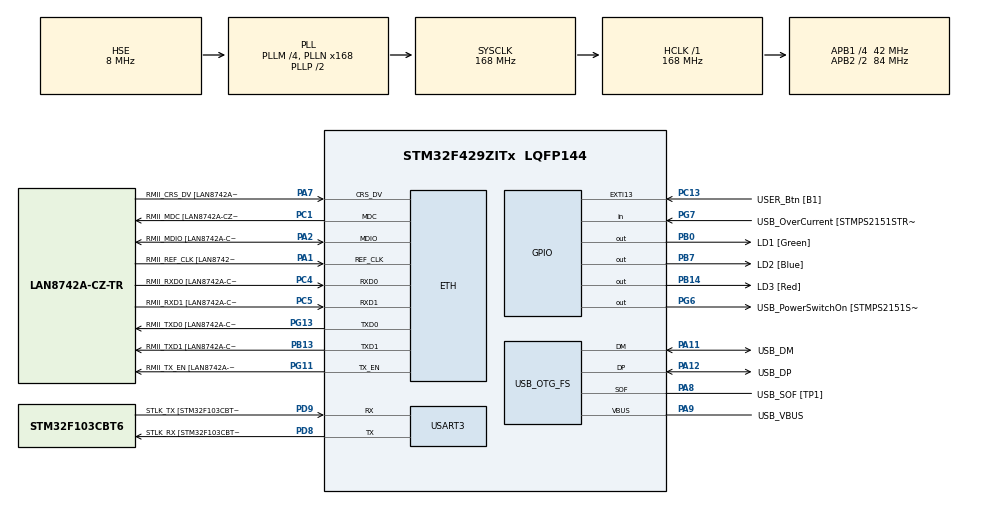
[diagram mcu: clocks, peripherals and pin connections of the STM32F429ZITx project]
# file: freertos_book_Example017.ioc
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ETH.MediaInterface=HAL_ETH_RMII_MODE
ETH.PHY_Name=LAN8742A_PHY_ADDRESS
ETH.PHY_Value=0
ETH.PhyAddress=0
FREERTOS.MEMORY_ALLOCATION=0
FREERTOS.Tasks01=defaultTask,0,128,StartDefaultTask,Default,NULL,Dynamic,NULL,NULL
FREERTOS.configUSE_COUNTING_SEMAPHORES=1
FREERTOS.configUSE_NEWLIB_REENTRANT=1
Mcu.Family=STM32F4
Mcu.Name=STM32F429ZITx
Mcu.Package=LQFP144
NVIC.EXTI15_10_IRQn=true\:5\:0\:false\:false\:true\:true\:true\:true\:true
NVIC.PriorityGroup=NVIC_PRIORITYGROUP_4
NVIC.TIM7_IRQn=true\:15\:0\:false\:false\:true\:false\:false\:true\:true
NVIC.TimeBase=TIM7_IRQn
NVIC.TimeBaseIP=TIM7
PA1.GPIO_Label=RMII_REF_CLK [LAN8742A-CZ-TR_REFCLK0]
PA1.Mode=RMII
PA1.Signal=ETH_REF_CLK
PA10.GPIO_Label=USB_ID
PA10.Signal=USB_OTG_FS_ID
PA11.GPIO_Label=USB_DM
PA11.Mode=Device_Only
PA11.Signal=USB_OTG_FS_DM
PA12.GPIO_Label=USB_DP
PA12.Mode=Device_Only
PA12.Signal=USB_OTG_FS_DP
PA13.GPIO_Label=TMS
PA13.Mode=Serial_Wire
PA13.Signal=SYS_JTMS-SWDIO
PA14.GPIO_Label=TCK
PA14.Mode=Serial_Wire
PA14.Signal=SYS_JTCK-SWCLK
PA2.GPIO_Label=RMII_MDIO [LAN8742A-CZ-TR_MDIO]
PA2.Mode=RMII
PA2.Signal=ETH_MDIO
PA7.GPIO_Label=RMII_CRS_DV [LAN8742A-CZ-TR_CRS_DV]
PA7.Mode=RMII
PA7.Signal=ETH_CRS_DV
PA8.GPIO_Label=USB_SOF [TP1]
PA8.Mode=Activate_SOF_FS
PA8.Signal=USB_OTG_FS_SOF
PA9.GPIO_Label=USB_VBUS
PA9.Mode=Activate_VBUS
PA9.Signal=USB_OTG_FS_VBUS
PB0.GPIO_Label=LD1 [Green]
PB0.Signal=GPIO_Output
PB13.GPIO_Label=RMII_TXD1 [LAN8742A-CZ-TR_TXD1]
PB13.Mode=RMII
PB13.Signal=ETH_TXD1
PB14.GPIO_Label=LD3 [Red]
PB14.Signal=GPIO_Output
PB7.GPIO_Label=LD2 [Blue]
PB7.Signal=GPIO_Output
PC1.GPIO_Label=RMII_MDC [LAN8742A-CZ-TR_MDC]
PC1.Mode=RMII
PC1.Signal=ETH_MDC
PC13.GPIO_Label=USER_Btn [B1]
PC13.GPIO_ModeDefaultEXTI=GPIO_MODE_IT_FALLING
PC13.Signal=GPXTI13
PC14/OSC32_IN.Mode=LSE-External-Oscillator
PC14/OSC32_IN.Signal=RCC_OSC32_IN
PC15/OSC32_OUT.Mode=LSE-External-Oscillator
PC15/OSC32_OUT.Signal=RCC_OSC32_OUT
PC4.GPIO_Label=RMII_RXD0 [LAN8742A-CZ-TR_RXD0]
PC4.Mode=RMII
PC4.Signal=ETH_RXD0
PC5.GPIO_Label=RMII_RXD1 [LAN8742A-CZ-TR_RXD1]
PC5.Mode=RMII
PC5.Signal=ETH_RXD1
PD8.GPIO_Label=STLK_RX [STM32F103CBT6_PA3]
PD8.Mode=Asynchronous
PD8.Signal=USART3_TX
PD9.GPIO_Label=STLK_TX [STM32F103CBT6_PA2]
PD9.Mode=Asynchronous
PD9.Signal=USART3_RX
PG11.GPIO_Label=RMII_TX_EN [LAN8742A-CZ-TR_TXEN]
PG11.Mode=RMII
PG11.Signal=ETH_TX_EN
PG13.GPIO_Label=RMII_TXD0 [LAN8742A-CZ-TR_TXD0]
PG13.Mode=RMII
PG13.Signal=ETH_TXD0
PG6.GPIO_Label=USB_PowerSwitchOn [STMPS2151STR_EN]
PG6.Signal=GPIO_Output
PG7.GPIO_Label=USB_OverCurrent [STMPS2151STR_FAULT]
PG7.Signal=GPIO_Input
PH0/OSC_IN.GPIO_Label=MCO [STM32F103CBT6_PA8]
PH0/OSC_IN.Mode=HSE-External-Clock-Source
PH0/OSC_IN.Signal=RCC_OSC_IN
PH1/OSC_OUT.Mode=HSE-External-Clock-Source
PH1/OSC_OUT.Signal=RCC_OSC_OUT
ProjectManager.HeapSize=0x200
ProjectManager.StackSize=0x400
ProjectManager.TargetToolchain=STM32CubeIDE
RCC.48MHZClocksFreq_Value=48000000
RCC.AHBFreq_Value=168000000
RCC.APB1CLKDivider=RCC_HCLK_DIV4
RCC.APB1Freq_Value=42000000
RCC.APB1TimFreq_Value=84000000
RCC.APB2CLKDivider=RCC_HCLK_DIV2
RCC.APB2Freq_Value=84000000
RCC.APB2TimCLKDivider=2
RCC.APB2TimFreq_Value=168000000
RCC.CortexFreq_Value=168000000
RCC.HCLKFreq_Value=168000000
RCC.HSE_VALUE=8000000
RCC.HSI_VALUE=16000000
RCC.PLLM=4
RCC.PLLMUL=RCC_PLL_MUL9
RCC.PLLN=168
RCC.PLLQ=7
RCC.PRESCALERUSB=RCC_USBCLKSOURCE_PLL_DIV1_5
RCC.SYSCLKFreq_VALUE=168000000
RCC.SYSCLKSource=RCC_SYSCLKSOURCE_PLLCLK
RCC.SYSCLKSourceVirtual=RCC_SYSCLKSOURCE_PLLCLK
RCC.USBFreq_Value=48000000
RCC.VCOOutputFreq_Value=336000000
USART3.VirtualMode=VM_ASYNC
USB_OTG_FS.VirtualMode=Device_Only
VP_FREERTOS_VS_CMSIS_V1.Mode=CMSIS_V1
VP_SYS_VS_tim7.Mode=TIM7
board=NUCLEO-F429ZI

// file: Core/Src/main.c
/* USER CODE BEGIN Header */
/**
  ******************************************************************************
  * @file           : main.c
  * @brief          : Main program body
  ******************************************************************************
  * @attention
  *
  * Copyright (c) 2022 STMicroelectronics.
  * All rights reserved.
  *
  * This software is licensed under terms that can be found in the LICENSE file
  * in the root directory of this software component.
  * If no LICENSE file comes with this software, it is provided AS-IS.
  *
  ******************************************************************************
  */
/* USER CODE END Header */
#include "main.h"
#include "string.h"
#include "cmsis_os.h"

/* USER CODE BEGIN Includes */
/* Standard includes. */
#include <stdio.h>
#include <stdlib.h>

/* Demo includes. */
#include "supportingFunctions.h"

/* USER CODE END Includes */

ETH_TxPacketConfig TxConfig;
ETH_DMADescTypeDef  DMARxDscrTab[ETH_RX_DESC_CNT]; /* Ethernet Rx DMA Descriptors */
ETH_DMADescTypeDef  DMATxDscrTab[ETH_TX_DESC_CNT]; /* Ethernet Tx DMA Descriptors */

ETH_HandleTypeDef heth;

UART_HandleTypeDef huart3;

PCD_HandleTypeDef hpcd_USB_OTG_FS;

osThreadId defaultTaskHandle;
/* USER CODE BEGIN PV */
/* Declare a variable of type SemaphoreHandle_t.  This is used to reference the
semaphore that is used to synchronize a task with an interrupt. */
SemaphoreHandle_t CountingSemaphoreHandle;

/* USER CODE END PV */

void SystemClock_Config(void);
static void MX_GPIO_Init(void);
static void MX_ETH_Init(void);
static void MX_USART3_UART_Init(void);
static void MX_USB_OTG_FS_PCD_Init(void);
void StartDefaultTask(void const * argument);

/* USER CODE BEGIN PFP */
void vHandlerTask(void *pvParameters);

/* USER CODE END PFP */

/* USER CODE BEGIN 0 */
/**
  * @brief EXTI line detection callbacks
  * @param GPIO_Pin: Specifies the pins connected EXTI line
  * @retval None
  */
void HAL_GPIO_EXTI_Callback(uint16_t GPIO_Pin)
{
	if( GPIO_Pin == USER_Btn_Pin )
	{
		BaseType_t xHigherPriorityTaskWoken;

		/* The xHigherPriorityTaskWoken parameter must be initialized to pdFALSE as
		   it will get set to pdTRUE inside the interrupt safe API function if a
		   context switch is required. */
		xHigherPriorityTaskWoken = pdFALSE;

		/* 'Give' the semaphore multiple times.  The first will unblock the deferred
		   interrupt handling task, the following 'gives' are to demonstrate that the
		   semaphore latches the events to allow the handler task to process them in
		   turn without events getting lost.  This simulates multiple interrupts being
		   processed by the processor, even though in this case the events are
		   simulated within a single interrupt occurrence.*/
		xSemaphoreGiveFromISR( CountingSemaphoreHandle, &xHigherPriorityTaskWoken );
		xSemaphoreGiveFromISR( CountingSemaphoreHandle, &xHigherPriorityTaskWoken );
		xSemaphoreGiveFromISR( CountingSemaphoreHandle, &xHigherPriorityTaskWoken );

		/* Pass the xHigherPriorityTaskWoken value into portYIELD_FROM_ISR().  If
		   xHigherPriorityTaskWoken was set to pdTRUE inside xSemaphoreGiveFromISR()
		   then calling portYIELD_FROM_ISR() will request a context switch.  If
		   xHigherPriorityTaskWoken is still pdFALSE then calling
		   portYIELD_FROM_ISR() will have no effect.  The implementation of
		   portYIELD_FROM_ISR() used by the Windows port includes a return statement,
		   which is why this function does not explicitly return a value. */
		portYIELD_FROM_ISR( xHigherPriorityTaskWoken );
	}
}

/* USER CODE END 0 */

int main(void)
{
  /* USER CODE BEGIN 1 */
	const char *pcTextForMain = "freertos_book_Example017 is running: Using a counting semaphore to synchronize a task with an interrupt\r\n\n";

  /* USER CODE END 1 */

  /* MCU Configuration--------------------------------------------------------*/

  /* Reset of all peripherals, Initializes the Flash interface and the Systick. */
  HAL_Init();

  /* Configure the system clock */
  SystemClock_Config();

  /* Initialize all configured peripherals */
  MX_GPIO_Init();
  MX_ETH_Init();
  MX_USART3_UART_Init();
  MX_USB_OTG_FS_PCD_Init();
  /* USER CODE BEGIN 2 */
	/* Print out the name of this Example. */
	vPrintString( pcTextForMain );

  /* USER CODE END 2 */

  /* USER CODE BEGIN RTOS_SEMAPHORES */
  /* add semaphores, ... */
    /* Before a semaphore is used it must be explicitly created.  In this
	example a counting semaphore is created.  The semaphore is created to have a
	maximum count value of 10, and an initial count value of 0. */
	CountingSemaphoreHandle = xSemaphoreCreateCounting( 10, 0 );

    /* Check the semaphore was created successfully */
    configASSERT( CountingSemaphoreHandle != NULL );

  /* USER CODE END RTOS_SEMAPHORES */

  /* Create the thread(s) */
  /* definition and creation of defaultTask */
  osThreadDef(defaultTask, StartDefaultTask, osPriorityNormal, 0, 128);
  defaultTaskHandle = osThreadCreate(osThread(defaultTask), NULL);

  /* USER CODE BEGIN RTOS_THREADS */
  /* add threads, ... */
	/* Create the 'handler' task, which is the task to which interrupt
	processing is deferred, and so is the task that will be synchronized
	with the interrupt.  The handler task is created with a high priority to
	ensure it runs immediately after the interrupt exits.  In this case a
	priority of 3 is chosen. */
	BaseType_t ret;

	ret = xTaskCreate( vHandlerTask,				/* Pointer to the function thats implement the task. */
					   "Handler",					/* Text name for the task. This is to facilitate debugging only. */
					   (4 * configMINIMAL_STACK_SIZE),	/* Stack depth in words. 				*/
					   NULL,						/* We are not using the task parameter.		*/
					   (tskIDLE_PRIORITY + 3UL),	/* This task will run at priority 3. 		*/
		               NULL );          	        /* We are not using the task handle. */

	/* Check the task was created successfully. */
	configASSERT( ret == pdPASS );

  /* USER CODE END RTOS_THREADS */

  /* Start scheduler */
  osKernelStart();

  /* We should never get here as control is now taken by the scheduler */
  /* Infinite loop */
  while (1)
  {

  }
}

void SystemClock_Config(void)
{
  RCC_OscInitTypeDef RCC_OscInitStruct = {0};
  RCC_ClkInitTypeDef RCC_ClkInitStruct = {0};

  /** Configure the main internal regulator output voltage
  */
  __HAL_RCC_PWR_CLK_ENABLE();
  __HAL_PWR_VOLTAGESCALING_CONFIG(PWR_REGULATOR_VOLTAGE_SCALE1);

  /** Initializes the RCC Oscillators according to the specified parameters
  * in the RCC_OscInitTypeDef structure.
  */
  RCC_OscInitStruct.OscillatorType = RCC_OSCILLATORTYPE_HSE;
  RCC_OscInitStruct.HSEState = RCC_HSE_BYPASS;
  RCC_OscInitStruct.PLL.PLLState = RCC_PLL_ON;
  RCC_OscInitStruct.PLL.PLLSource = RCC_PLLSOURCE_HSE;
  RCC_OscInitStruct.PLL.PLLM = 4;
  RCC_OscInitStruct.PLL.PLLN = 168;
  RCC_OscInitStruct.PLL.PLLP = RCC_PLLP_DIV2;
  RCC_OscInitStruct.PLL.PLLQ = 7;
  if (HAL_RCC_OscConfig(&RCC_OscInitStruct) != HAL_OK)
  {
    Error_Handler();
  }

  /** Initializes the CPU, AHB and APB buses clocks
  */
  RCC_ClkInitStruct.ClockType = RCC_CLOCKTYPE_HCLK|RCC_CLOCKTYPE_SYSCLK
                              |RCC_CLOCKTYPE_PCLK1|RCC_CLOCKTYPE_PCLK2;
  RCC_ClkInitStruct.SYSCLKSource = RCC_SYSCLKSOURCE_PLLCLK;
  RCC_ClkInitStruct.AHBCLKDivider = RCC_SYSCLK_DIV1;
  RCC_ClkInitStruct.APB1CLKDivider = RCC_HCLK_DIV4;
  RCC_ClkInitStruct.APB2CLKDivider = RCC_HCLK_DIV2;

  if (HAL_RCC_ClockConfig(&RCC_ClkInitStruct, FLASH_LATENCY_5) != HAL_OK)
  {
    Error_Handler();
  }
}

static void MX_ETH_Init(void)
{

   static uint8_t MACAddr[6];

  heth.Instance = ETH;
  MACAddr[0] = 0x00;
  MACAddr[1] = 0x80;
  MACAddr[2] = 0xE1;
  MACAddr[3] = 0x00;
  MACAddr[4] = 0x00;
  MACAddr[5] = 0x00;
  heth.Init.MACAddr = &MACAddr[0];
  heth.Init.MediaInterface = HAL_ETH_RMII_MODE;
  heth.Init.TxDesc = DMATxDscrTab;
  heth.Init.RxDesc = DMARxDscrTab;
  heth.Init.RxBuffLen = 1524;

  if (HAL_ETH_Init(&heth) != HAL_OK)
  {
    Error_Handler();
  }

  memset(&TxConfig, 0 , sizeof(ETH_TxPacketConfig));
  TxConfig.Attributes = ETH_TX_PACKETS_FEATURES_CSUM | ETH_TX_PACKETS_FEATURES_CRCPAD;
  TxConfig.ChecksumCtrl = ETH_CHECKSUM_IPHDR_PAYLOAD_INSERT_PHDR_CALC;
  TxConfig.CRCPadCtrl = ETH_CRC_PAD_INSERT;

}

static void MX_USART3_UART_Init(void)
{

  huart3.Instance = USART3;
  huart3.Init.BaudRate = 115200;
  huart3.Init.WordLength = UART_WORDLENGTH_8B;
  huart3.Init.StopBits = UART_STOPBITS_1;
  huart3.Init.Parity = UART_PARITY_NONE;
  huart3.Init.Mode = UART_MODE_TX_RX;
  huart3.Init.HwFlowCtl = UART_HWCONTROL_NONE;
  huart3.Init.OverSampling = UART_OVERSAMPLING_16;
  if (HAL_UART_Init(&huart3) != HAL_OK)
  {
    Error_Handler();
  }

}

static void MX_USB_OTG_FS_PCD_Init(void)
{

  hpcd_USB_OTG_FS.Instance = USB_OTG_FS;
  hpcd_USB_OTG_FS.Init.dev_endpoints = 4;
  hpcd_USB_OTG_FS.Init.speed = PCD_SPEED_FULL;
  hpcd_USB_OTG_FS.Init.dma_enable = DISABLE;
  hpcd_USB_OTG_FS.Init.phy_itface = PCD_PHY_EMBEDDED;
  hpcd_USB_OTG_FS.Init.Sof_enable = ENABLE;
  hpcd_USB_OTG_FS.Init.low_power_enable = DISABLE;
  hpcd_USB_OTG_FS.Init.lpm_enable = DISABLE;
  hpcd_USB_OTG_FS.Init.vbus_sensing_enable = ENABLE;
  hpcd_USB_OTG_FS.Init.use_dedicated_ep1 = DISABLE;
  if (HAL_PCD_Init(&hpcd_USB_OTG_FS) != HAL_OK)
  {
    Error_Handler();
  }

}

static void MX_GPIO_Init(void)
{
  GPIO_InitTypeDef GPIO_InitStruct = {0};

  /* GPIO Ports Clock Enable */
  __HAL_RCC_GPIOC_CLK_ENABLE();
  __HAL_RCC_GPIOH_CLK_ENABLE();
  __HAL_RCC_GPIOA_CLK_ENABLE();
  __HAL_RCC_GPIOB_CLK_ENABLE();
  __HAL_RCC_GPIOD_CLK_ENABLE();
  __HAL_RCC_GPIOG_CLK_ENABLE();

  /*Configure GPIO pin Output Level */
  HAL_GPIO_WritePin(GPIOB, LD1_Pin|LD3_Pin|LD2_Pin, GPIO_PIN_RESET);

  /*Configure GPIO pin Output Level */
  HAL_GPIO_WritePin(USB_PowerSwitchOn_GPIO_Port, USB_PowerSwitchOn_Pin, GPIO_PIN_RESET);

  /*Configure GPIO pin : USER_Btn_Pin */
  GPIO_InitStruct.Pin = USER_Btn_Pin;
  GPIO_InitStruct.Mode = GPIO_MODE_IT_FALLING;
  GPIO_InitStruct.Pull = GPIO_NOPULL;
  HAL_GPIO_Init(USER_Btn_GPIO_Port, &GPIO_InitStruct);

  /*Configure GPIO pins : LD1_Pin LD3_Pin LD2_Pin */
  GPIO_InitStruct.Pin = LD1_Pin|LD3_Pin|LD2_Pin;
  GPIO_InitStruct.Mode = GPIO_MODE_OUTPUT_PP;
  GPIO_InitStruct.Pull = GPIO_NOPULL;
  GPIO_InitStruct.Speed = GPIO_SPEED_FREQ_LOW;
  HAL_GPIO_Init(GPIOB, &GPIO_InitStruct);

  /*Configure GPIO pin : USB_PowerSwitchOn_Pin */
  GPIO_InitStruct.Pin = USB_PowerSwitchOn_Pin;
  GPIO_InitStruct.Mode = GPIO_MODE_OUTPUT_PP;
  GPIO_InitStruct.Pull = GPIO_NOPULL;
  GPIO_InitStruct.Speed = GPIO_SPEED_FREQ_LOW;
  HAL_GPIO_Init(USB_PowerSwitchOn_GPIO_Port, &GPIO_InitStruct);

  /*Configure GPIO pin : USB_OverCurrent_Pin */
  GPIO_InitStruct.Pin = USB_OverCurrent_Pin;
  GPIO_InitStruct.Mode = GPIO_MODE_INPUT;
  GPIO_InitStruct.Pull = GPIO_NOPULL;
  HAL_GPIO_Init(USB_OverCurrent_GPIO_Port, &GPIO_InitStruct);

  /* EXTI interrupt init*/
  HAL_NVIC_SetPriority(EXTI15_10_IRQn, 5, 0);
  HAL_NVIC_EnableIRQ(EXTI15_10_IRQn);

}

/* USER CODE BEGIN 4 */

/* USER CODE BEGIN Header_vHandlerTask */
/**
  * @brief  Function implementing the Handler thread.
  * @param  argument: Not used
  * @retval None
  */
/* USER CODE END Header_vHandlerTask */
void vHandlerTask(void * pvParameters)
{
	/* Print out the name of this task. */
	vPrintString( "Task Handle is running\r\n" );

	for( ;; )
	{
		/* Use the semaphore to wait for the event.  The semaphore was created
		before the scheduler was started so before this task ran for the first
		time.  The task blocks indefinitely meaning this function call will only
		return once the semaphore has been successfully obtained - so there is
		no need to check the returned value. */
		xSemaphoreTake( CountingSemaphoreHandle, portMAX_DELAY );

		/* To get here the event must have occurred.  Process the event (in this
		case just print out a message). */
		vPrintString( "Handler task - Processing event.\r\n" );
	}
}

/* USER CODE END 4 */

void StartDefaultTask(void const * argument)
{
  /* USER CODE BEGIN 5 */
  /* Infinite loop */
  for(;;)
  {
    osDelay(50000);
  }
  /* USER CODE END 5 */
}

void HAL_TIM_PeriodElapsedCallback(TIM_HandleTypeDef *htim)
{
  if (htim->Instance == TIM7) {
    HAL_IncTick();
  }
}

void Error_Handler(void)
{
  __disable_irq();
  while (1)
  {
  }
}
